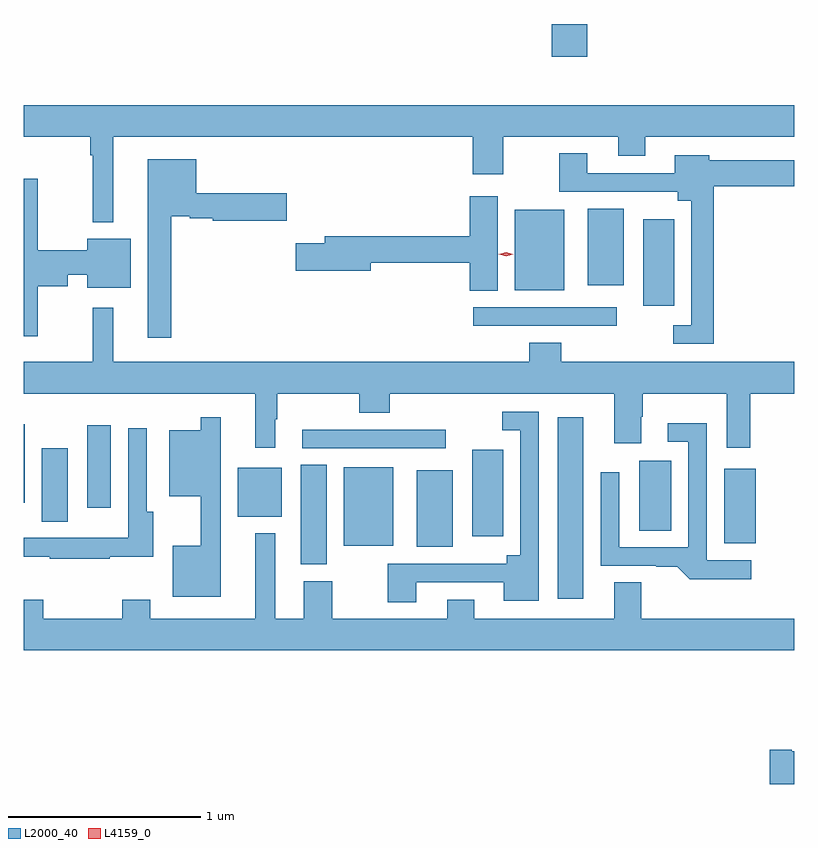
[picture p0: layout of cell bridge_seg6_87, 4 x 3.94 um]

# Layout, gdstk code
import gdstk
lib = gdstk.Library(unit=1e-6, precision=1e-09)
def R(c, l, rs):  # rectangles x0, y0, x1, y1
    for r in rs: c.add(gdstk.rectangle(r[:2], r[2:], *l))
def P(c, l, *ps):  # polygons
    for p in ps: c.add(gdstk.Polygon(p, *l))
L2000_40 = (2000, 40)
L4159_0 = (4159, 0)

bridge_seg6_87 = lib.new_cell('bridge_seg6_87')
R(bridge_seg6_87, L2000_40, [(870.212,986.232,870.346,987.172), (868.88,986.411,869.014,986.927), (869.48,986.501,869.668,986.899), (869.102,986.507,869.359,986.914), (871.076,986.519,871.24,986.905), (869.768,986.556,869.929,987.004), (870.635,986.584,870.802,986.947), (867.536,986.632,867.67,987.013), (868.553,986.657,868.78,986.911), (867.77,986.703,867.892,987.133), (867.441,986.73,867.448,987.136), (868.887,987.012,869.632,987.108), (869.775,987.648,870.52,987.744), (870.656,987.753,870.817,988.201), (869.99,987.833,870.247,988.249), (870.368,987.857,870.556,988.255), (870.182,989.043,870.365,989.214)])
P(bridge_seg6_87, L2000_40, [(867.907,988.628),(869.771,988.628),(869.771,988.434),(869.931,988.434),(869.931,988.628),(870.527,988.628),(870.527,988.529),(870.667,988.529),(870.667,988.628),(871.441,988.628),(871.441,988.792),(867.441,988.792),(867.441,988.628),(867.786,988.628),(867.786,988.532),(867.801,988.532),(867.801,988.184),(867.907,988.184)],
  [(871.022,988.373),(871.441,988.373),(871.441,988.507),(870.999,988.507),(870.999,988.534),(870.821,988.534),(870.821,988.44),(870.367,988.44),(870.367,988.543),(870.22,988.543),(870.22,988.344),(870.836,988.344),(870.836,988.298),(870.906,988.298),(870.906,987.651),(870.813,987.651),(870.813,987.555),(871.022,987.555)],
  [(868.207,988.217),(868.304,988.217),(868.304,988.205),(868.422,988.205),(868.422,988.193),(868.807,988.193),(868.807,988.335),(868.336,988.335),(868.336,988.513),(868.085,988.513),(868.085,987.585),(868.207,987.585)],
  [(867.515,987.854),(867.67,987.854),(867.67,987.912),(867.77,987.912),(867.77,987.845),(867.997,987.845),(867.997,988.099),(867.77,988.099),(867.77,988.04),(867.515,988.04),(867.515,988.411),(867.441,988.411),(867.441,987.594),(867.515,987.594)],
  [(869.902,988.321),(869.756,988.321),(869.756,988.112),(869.003,988.112),(869.003,988.076),(868.854,988.076),(868.854,987.934),(869.242,987.934),(869.242,987.976),(869.756,987.976),(869.756,987.829),(869.902,987.829)],
  [(868.747,987.164),(868.757,987.164),(868.757,987.296),(869.182,987.296),(869.182,987.197),(869.342,987.197),(869.342,987.296),(870.506,987.296),(870.506,987.039),(870.646,987.039),(870.646,987.176),(870.654,987.176),(870.654,987.296),(871.091,987.296),(871.091,987.015),(871.212,987.015),(871.212,987.296),(871.441,987.296),(871.441,987.46),(870.23,987.46),(870.23,987.559),(870.065,987.559),(870.065,987.46),(867.907,987.46),(867.907,987.742),(867.801,987.742),(867.801,987.46),(867.441,987.46),(867.441,987.296),(868.643,987.296),(868.643,987.015),(868.747,987.015)],
  [(869.479,986.316),(869.933,986.316),(869.933,986.222),(870.114,986.222),(870.114,987.201),(869.925,987.201),(869.925,987.105),(870.018,987.105),(870.018,986.458),(869.948,986.458),(869.948,986.412),(869.332,986.412),(869.332,986.214),(869.479,986.214)],
  [(868.465,987.172),(868.359,987.172),(868.359,987.106),(868.196,987.106),(868.196,986.762),(868.361,986.762),(868.361,986.506),(868.214,986.506),(868.214,986.243),(868.465,986.243)],
  [(871.216,986.43),(870.987,986.43),(870.987,987.142),(870.783,987.142),(870.783,987.045),(870.891,987.045),(870.891,986.499),(870.531,986.499),(870.531,986.887),(870.435,986.887),(870.435,986.403),(870.725,986.403),(870.725,986.398),(870.833,986.398),(870.899,986.333),(871.216,986.333)],
  [(867.887,986.449),(868.114,986.449),(868.114,986.683),(868.08,986.683),(868.08,987.115),(867.984,987.115),(867.984,986.548),(867.774,986.548),(867.774,986.547),(867.441,986.547),(867.441,986.449),(867.577,986.449),(867.577,986.439),(867.887,986.439)],
  [(871.441,986.128),(870.646,986.128),(870.646,986.318),(870.506,986.318),(870.506,986.128),(869.779,986.128),(869.779,986.227),(869.639,986.227),(869.639,986.128),(869.043,986.128),(869.043,986.323),(868.895,986.323),(868.895,986.128),(868.747,986.128),(868.747,986.572),(868.643,986.572),(868.643,986.128),(868.099,986.128),(868.099,986.227),(867.952,986.227),(867.952,986.128),(867.543,986.128),(867.543,986.227),(867.441,986.227),(867.441,985.964),(871.441,985.964)],
  [(871.441,985.441),(871.426,985.441),(871.426,985.448),(871.314,985.448),(871.314,985.27),(871.441,985.27)])
P(bridge_seg6_87, L4159_0, [(869.945,988.01),(869.907,988.02),(869.907,988.02),(869.907,988.02),(869.945,988.03),(869.982,988.02),(869.982,988.02),(869.982,988.02)])

lib.write_gds('bridge_seg6_87.gds')
